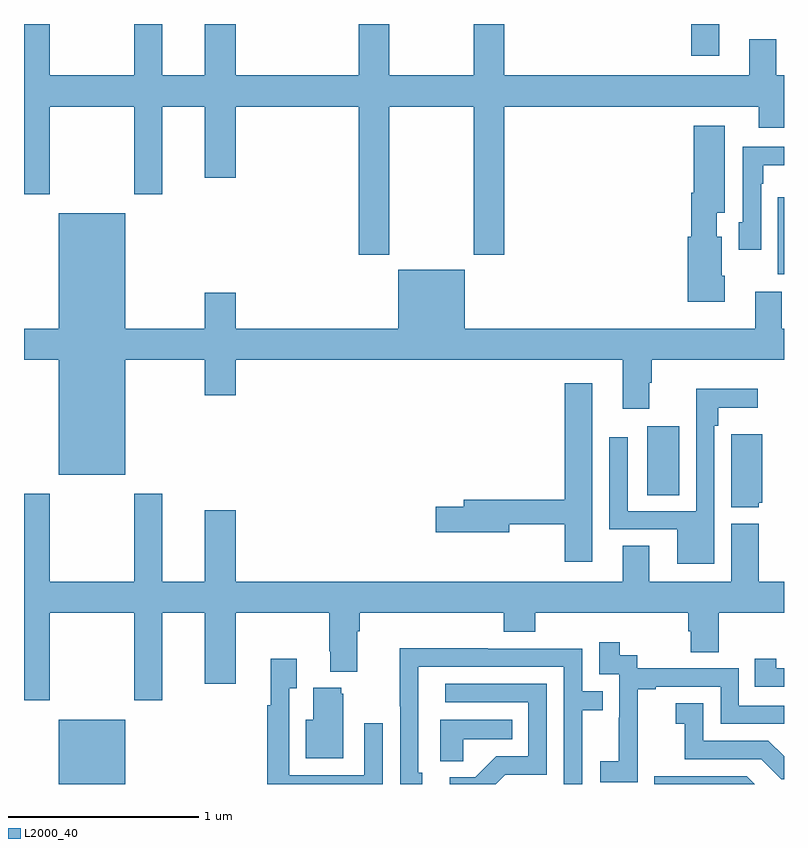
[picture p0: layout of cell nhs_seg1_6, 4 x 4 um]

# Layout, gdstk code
import gdstk
lib = gdstk.Library(unit=1e-6, precision=1e-09)
def R(c, l, rs):  # rectangles x0, y0, x1, y1
    for r in rs: c.add(gdstk.rectangle(r[:2], r[2:], *l))
def P(c, l, *ps):  # polygons
    for p in ps: c.add(gdstk.Polygon(p, *l))
L2000_40 = (2000, 40)

nhs_seg1_6 = lib.new_cell('nhs_seg1_6')
R(nhs_seg1_6, L2000_40, [(111.182,516.199,111.532,516.538), (114.281,517.72,114.448,518.083), (114.968,518.881,115,519.286), (114.512,520.032,114.658,520.199)])
P(nhs_seg1_6, L2000_40, [(112.923,519.764),(113.368,519.764),(113.368,518.985),(113.528,518.985),(113.528,519.764),(114.866,519.764),(114.866,519.654),(115,519.654),(115,519.928),(114.958,519.928),(114.958,520.118),(114.818,520.118),(114.818,519.928),(113.528,519.928),(113.528,520.199),(113.368,520.199),(113.368,519.928),(112.923,519.928),(112.923,520.199),(112.763,520.199),(112.763,519.928),(112.114,519.928),(112.114,520.199),(111.95,520.199),(111.95,519.928),(111.727,519.928),(111.727,520.199),(111.58,520.199),(111.58,519.928),(111.135,519.928),(111.135,520.199),(111,520.199),(111,519.303),(111.135,519.303),(111.135,519.764),(111.58,519.764),(111.58,519.303),(111.727,519.303),(111.727,519.764),(111.95,519.764),(111.95,519.39),(112.114,519.39),(112.114,519.764),(112.763,519.764),(112.763,518.985),(112.923,518.985)],
  [(114.688,518.874),(114.672,518.874),(114.672,519.078),(114.646,519.078),(114.646,519.206),(114.688,519.206),(114.688,519.664),(114.524,519.664),(114.524,519.31),(114.512,519.31),(114.512,519.078),(114.494,519.078),(114.494,518.738),(114.688,518.738)],
  [(114.879,519.359),(114.892,519.359),(114.892,519.455),(115,519.455),(115,519.552),(114.783,519.552),(114.783,519.156),(114.762,519.156),(114.762,519.012),(114.879,519.012)],
  [(111.532,518.432),(111.95,518.432),(111.95,518.244),(112.114,518.244),(112.114,518.432),(114.152,518.432),(114.152,518.175),(114.292,518.175),(114.292,518.312),(114.305,518.312),(114.305,518.432),(115,518.432),(115,518.596),(114.988,518.596),(114.988,518.791),(114.848,518.791),(114.848,518.596),(113.32,518.596),(113.32,518.905),(112.97,518.905),(112.97,518.596),(112.114,518.596),(112.114,518.785),(111.95,518.785),(111.95,518.596),(111.532,518.596),(111.532,519.202),(111.182,519.202),(111.182,518.596),(111,518.596),(111,518.432),(111.182,518.432),(111.182,517.826),(111.532,517.826)],
  [(113.992,518.308),(113.846,518.308),(113.846,517.694),(113.315,517.694),(113.315,517.658),(113.166,517.658),(113.166,517.523),(113.554,517.523),(113.554,517.566),(113.846,517.566),(113.846,517.368),(113.992,517.368)],
  [(114.633,518.084),(114.653,518.084),(114.653,518.18),(114.862,518.18),(114.862,518.278),(114.537,518.278),(114.537,517.635),(114.177,517.635),(114.177,518.023),(114.081,518.023),(114.081,517.539),(114.437,517.539),(114.437,517.358),(114.633,517.358)],
  [(114.867,517.68),(114.886,517.68),(114.886,518.041),(114.722,518.041),(114.722,517.655),(114.867,517.655)],
  [(111.135,517.1),(111.58,517.1),(111.58,516.639),(111.727,516.639),(111.727,517.1),(111.95,517.1),(111.95,516.726),(112.114,516.726),(112.114,517.1),(112.606,517.1),(112.606,516.898),(112.613,516.898),(112.613,516.791),(112.753,516.791),(112.753,517.004),(112.766,517.004),(112.766,517.1),(113.525,517.1),(113.525,517.001),(113.69,517.001),(113.69,517.1),(114.497,517.1),(114.497,517.002),(114.509,517.002),(114.509,516.892),(114.657,516.892),(114.657,517.1),(115,517.1),(115,517.264),(114.866,517.264),(114.866,517.57),(114.722,517.57),(114.722,517.264),(114.292,517.264),(114.292,517.454),(114.152,517.454),(114.152,517.264),(112.114,517.264),(112.114,517.639),(111.95,517.639),(111.95,517.264),(111.727,517.264),(111.727,517.726),(111.58,517.726),(111.58,517.264),(111.135,517.264),(111.135,517.726),(111,517.726),(111,516.639),(111.135,516.639)],
  [(114.231,516.415),(114.23,516.415),(114.23,516.699),(114.325,516.699),(114.325,516.711),(114.666,516.711),(114.666,516.516),(115,516.516),(115,516.612),(114.762,516.612),(114.762,516.807),(114.228,516.807),(114.228,516.876),(114.136,516.876),(114.136,516.946),(114.027,516.946),(114.027,516.777),(114.132,516.777),(114.132,516.548),(114.131,516.548),(114.131,516.319),(114.033,516.319),(114.033,516.209),(114.231,516.209)],
  [(113.095,516.258),(113.076,516.258),(113.076,516.816),(113.841,516.816),(113.841,516.199),(113.937,516.199),(113.937,516.586),(114.047,516.586),(114.047,516.687),(113.937,516.687),(113.937,516.912),(113.441,516.912),(113.441,516.914),(112.978,516.914),(112.978,516.607),(112.98,516.607),(112.98,516.199),(113.095,516.199)],
  [(112.887,516.52),(112.791,516.52),(112.791,516.246),(112.395,516.246),(112.395,516.703),(112.435,516.703),(112.435,516.859),(112.298,516.859),(112.298,516.614),(112.279,516.614),(112.279,516.199),(112.887,516.199)],
  [(115,516.807),(114.958,516.807),(114.958,516.859),(114.847,516.859),(114.847,516.711),(115,516.711)],
  [(113.532,516.249),(113.751,516.249),(113.751,516.726),(113.217,516.726),(113.217,516.63),(113.655,516.63),(113.655,516.345),(113.486,516.345),(113.375,516.234),(113.241,516.234),(113.241,516.199),(113.482,516.199)],
  [(112.681,516.675),(112.67,516.675),(112.67,516.706),(112.523,516.706),(112.523,516.538),(112.484,516.538),(112.484,516.335),(112.681,516.335)],
  [(115,516.344),(114.918,516.426),(114.576,516.426),(114.576,516.625),(114.429,516.625),(114.429,516.515),(114.478,516.515),(114.478,516.33),(114.881,516.33),(114.986,516.225),(115,516.225)],
  [(113.313,516.434),(113.57,516.434),(113.57,516.538),(113.192,516.538),(113.192,516.319),(113.313,516.319)],
  [(114.804,516.24),(114.318,516.24),(114.318,516.199),(114.845,516.199)])

lib.write_gds('nhs_seg1_6.gds')
